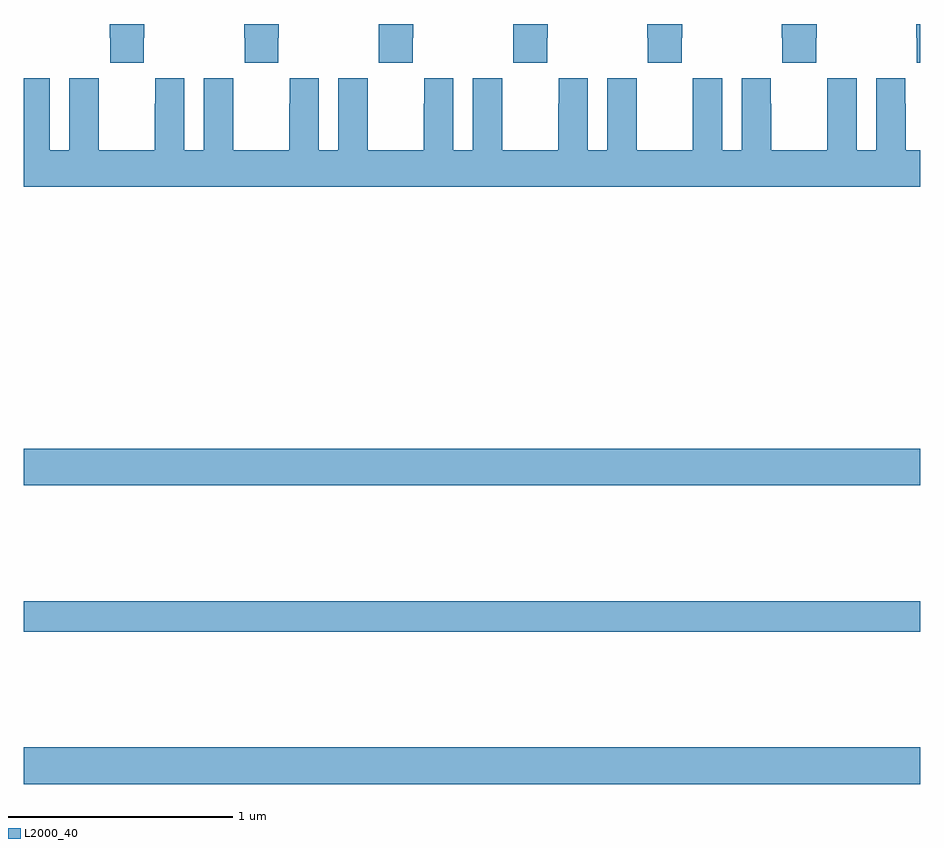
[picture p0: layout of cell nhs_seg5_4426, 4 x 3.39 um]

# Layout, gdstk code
import gdstk
lib = gdstk.Library(unit=1e-6, precision=1e-09)
def R(c, l, rs):  # rectangles x0, y0, x1, y1
    for r in rs: c.add(gdstk.rectangle(r[:2], r[2:], *l))
def P(c, l, *ps):  # polygons
    for p in ps: c.add(gdstk.Polygon(p, *l))
L2000_40 = (2000, 40)

nhs_seg5_4426 = lib.new_cell('nhs_seg5_4426')
R(nhs_seg5_4426, L2000_40, [(371,875.408,375,875.572), (371,876.088,375,876.224), (371,876.74,375,876.904)])
P(nhs_seg5_4426, L2000_40, [(371.535,878.737),(371.538,878.737),(371.538,878.799),(371.383,878.799),(371.383,878.737),(371.385,878.737),(371.385,878.625),(371.535,878.625)],
  [(372.135,878.737),(372.138,878.737),(372.138,878.799),(371.983,878.799),(371.983,878.737),(371.985,878.737),(371.985,878.625),(372.135,878.625)],
  [(372.735,878.737),(372.738,878.737),(372.738,878.799),(372.583,878.799),(372.583,878.737),(372.585,878.737),(372.585,878.625),(372.735,878.625)],
  [(373.335,878.737),(373.338,878.737),(373.338,878.799),(373.183,878.799),(373.183,878.737),(373.185,878.737),(373.185,878.625),(373.335,878.625)],
  [(373.935,878.737),(373.938,878.737),(373.938,878.799),(373.783,878.799),(373.783,878.737),(373.785,878.737),(373.785,878.625),(373.935,878.625)],
  [(374.535,878.737),(374.538,878.737),(374.538,878.799),(374.383,878.799),(374.383,878.737),(374.385,878.737),(374.385,878.625),(374.535,878.625)],
  [(375,878.799),(374.983,878.799),(374.983,878.737),(374.985,878.737),(374.985,878.625),(375,878.625)],
  [(375,878.236),(374.935,878.236),(374.935,878.444),(374.934,878.444),(374.934,878.557),(374.804,878.557),(374.804,878.236),(374.716,878.236),(374.716,878.557),(374.586,878.557),(374.586,878.444),(374.585,878.444),(374.585,878.236),(374.335,878.236),(374.335,878.444),(374.334,878.444),(374.334,878.557),(374.204,878.557),(374.204,878.236),(374.116,878.236),(374.116,878.557),(373.986,878.557),(373.986,878.444),(373.985,878.444),(373.985,878.236),(373.735,878.236),(373.735,878.444),(373.734,878.444),(373.734,878.557),(373.604,878.557),(373.604,878.236),(373.516,878.236),(373.516,878.557),(373.386,878.557),(373.386,878.444),(373.385,878.444),(373.385,878.236),(373.135,878.236),(373.135,878.444),(373.134,878.444),(373.134,878.557),(373.004,878.557),(373.004,878.236),(372.916,878.236),(372.916,878.557),(372.786,878.557),(372.786,878.444),(372.785,878.444),(372.785,878.236),(372.535,878.236),(372.535,878.444),(372.534,878.444),(372.534,878.557),(372.404,878.557),(372.404,878.236),(372.316,878.236),(372.316,878.557),(372.186,878.557),(372.186,878.444),(372.185,878.444),(372.185,878.236),(371.935,878.236),(371.935,878.444),(371.934,878.444),(371.934,878.557),(371.804,878.557),(371.804,878.236),(371.716,878.236),(371.716,878.557),(371.586,878.557),(371.586,878.444),(371.585,878.444),(371.585,878.236),(371.335,878.236),(371.335,878.444),(371.334,878.444),(371.334,878.557),(371.204,878.557),(371.204,878.236),(371.116,878.236),(371.116,878.557),(371,878.557),(371,878.072),(375,878.072)])

lib.write_gds('nhs_seg5_4426.gds')
